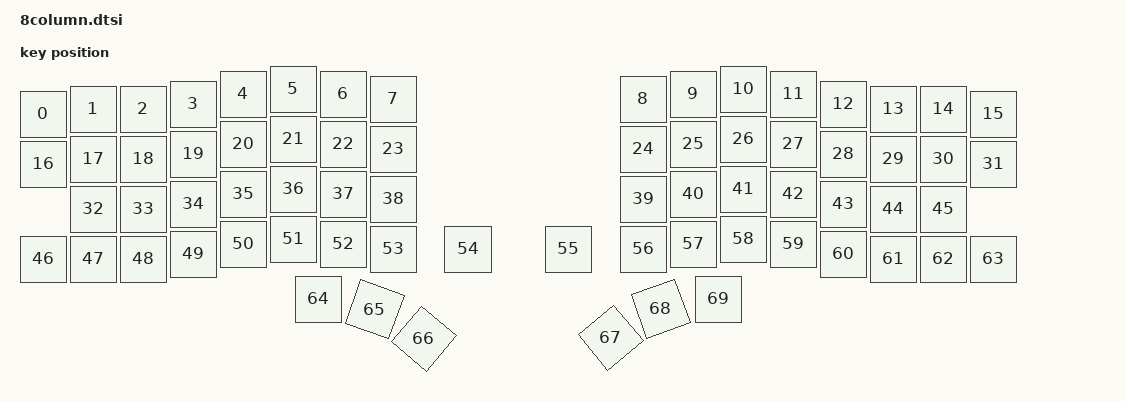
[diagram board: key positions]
#include <physical_layouts.dtsi>

/ {
    drift_8col_layout: drift_8col_layout {
        compatible = "zmk,physical-layout";
        display-name = "8 Column";

		keys  //                     w   h    x    y     rot    rx    ry
            = <&key_physical_attrs 100 100    0   50       0     0     0>
            , <&key_physical_attrs 100 100  100   40       0     0     0>
            , <&key_physical_attrs 100 100  200   40       0     0     0>
            , <&key_physical_attrs 100 100  300   30       0     0     0>
            , <&key_physical_attrs 100 100  400   10       0     0     0>
            , <&key_physical_attrs 100 100  500    0       0     0     0>
            , <&key_physical_attrs 100 100  600   10       0     0     0>
            , <&key_physical_attrs 100 100  700   20       0     0     0>
            , <&key_physical_attrs 100 100 1200   20       0     0     0>
            , <&key_physical_attrs 100 100 1300   10       0     0     0>
            , <&key_physical_attrs 100 100 1400    0       0     0     0>
            , <&key_physical_attrs 100 100 1500   10       0     0     0>
            , <&key_physical_attrs 100 100 1600   30       0     0     0>
            , <&key_physical_attrs 100 100 1700   40       0     0     0>
            , <&key_physical_attrs 100 100 1800   40       0     0     0>
            , <&key_physical_attrs 100 100 1900   50       0     0     0>
            , <&key_physical_attrs 100 100    0  150       0     0     0>
            , <&key_physical_attrs 100 100  100  140       0     0     0>
            , <&key_physical_attrs 100 100  200  140       0     0     0>
            , <&key_physical_attrs 100 100  300  130       0     0     0>
            , <&key_physical_attrs 100 100  400  110       0     0     0>
            , <&key_physical_attrs 100 100  500  100       0     0     0>
            , <&key_physical_attrs 100 100  600  110       0     0     0>
            , <&key_physical_attrs 100 100  700  120       0     0     0>
            , <&key_physical_attrs 100 100 1200  120       0     0     0>
            , <&key_physical_attrs 100 100 1300  110       0     0     0>
            , <&key_physical_attrs 100 100 1400  100       0     0     0>
            , <&key_physical_attrs 100 100 1500  110       0     0     0>
            , <&key_physical_attrs 100 100 1600  130       0     0     0>
            , <&key_physical_attrs 100 100 1700  140       0     0     0>
            , <&key_physical_attrs 100 100 1800  140       0     0     0>
            , <&key_physical_attrs 100 100 1900  150       0     0     0>
            , <&key_physical_attrs 100 100  100  240       0     0     0>
            , <&key_physical_attrs 100 100  200  240       0     0     0>
            , <&key_physical_attrs 100 100  300  230       0     0     0>
            , <&key_physical_attrs 100 100  400  210       0     0     0>
            , <&key_physical_attrs 100 100  500  200       0     0     0>
            , <&key_physical_attrs 100 100  600  210       0     0     0>
            , <&key_physical_attrs 100 100  700  220       0     0     0>
            , <&key_physical_attrs 100 100 1200  220       0     0     0>
            , <&key_physical_attrs 100 100 1300  210       0     0     0>
            , <&key_physical_attrs 100 100 1400  200       0     0     0>
            , <&key_physical_attrs 100 100 1500  210       0     0     0>
            , <&key_physical_attrs 100 100 1600  230       0     0     0>
            , <&key_physical_attrs 100 100 1700  240       0     0     0>
            , <&key_physical_attrs 100 100 1800  240       0     0     0>
            , <&key_physical_attrs 100 100    0  340       0     0     0>
            , <&key_physical_attrs 100 100  100  340       0     0     0>
            , <&key_physical_attrs 100 100  200  340       0     0     0>
            , <&key_physical_attrs 100 100  300  330       0     0     0>
            , <&key_physical_attrs 100 100  400  310       0     0     0>
            , <&key_physical_attrs 100 100  500  300       0     0     0>
            , <&key_physical_attrs 100 100  600  310       0     0     0>
            , <&key_physical_attrs 100 100  700  320       0     0     0>
            , <&key_physical_attrs 100 100  850  320       0     0     0>
            , <&key_physical_attrs 100 100 1050  320       0     0     0>
            , <&key_physical_attrs 100 100 1200  320       0     0     0>
            , <&key_physical_attrs 100 100 1300  310       0     0     0>
            , <&key_physical_attrs 100 100 1400  300       0     0     0>
            , <&key_physical_attrs 100 100 1500  310       0     0     0>
            , <&key_physical_attrs 100 100 1600  330       0     0     0>
            , <&key_physical_attrs 100 100 1700  340       0     0     0>
            , <&key_physical_attrs 100 100 1800  340       0     0     0>
            , <&key_physical_attrs 100 100 1900  340       0     0     0>
            , <&key_physical_attrs 100 100  550  420       0     0     0>
            , <&key_physical_attrs 100 100  570  410    2000   580   740>
            , <&key_physical_attrs 100 100  585  395    4000   580   740>
            , <&key_physical_attrs 100 100 1313  395 (-4000)  1415   740>
            , <&key_physical_attrs 100 100 1329  410 (-2000)  1415   740>
            , <&key_physical_attrs 100 100 1350  420       0     0     0>
        ;
    };
};
